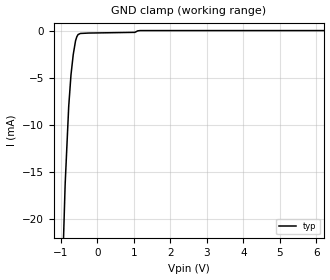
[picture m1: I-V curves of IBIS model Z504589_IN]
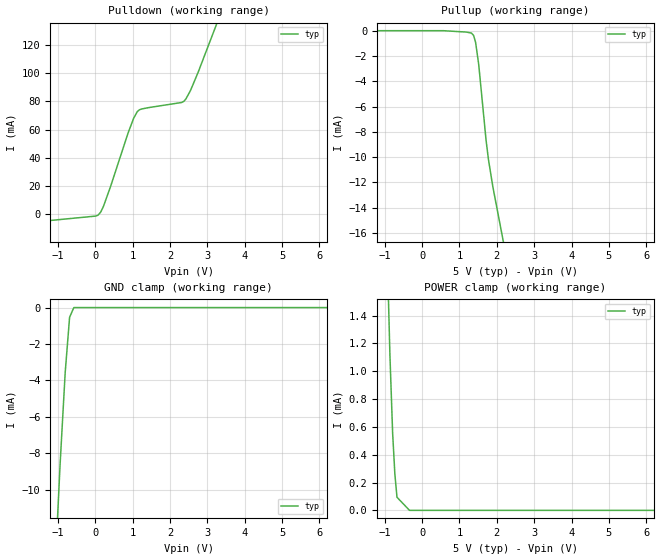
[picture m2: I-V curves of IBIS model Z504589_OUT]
| YOU ARE ONLY AUTHORIZED TO USE THIS SOFTWARE
| ACCORDING TO LICENSOR'S LICENSE RESTRICTIONS.
[IBIS Ver] 3.1
[File Name] sn74ls194ad.ibs
[File Rev] 2.0
[Source] Measured and created by ICX Technology
[Date] Friday 7/14/00 9:08:18 AM
[Copyright]
| (C) COPYRIGHT 1993-2000
| MENTOR GRAPHICS CORPORATION
| ICX STANDARD LIBRARY, ICX PROJECT MODELING,
| ICX CUSTOM MODELING, ICX VENDOR MODEL
| ALL RIGHTS RESERVED.
| THE FOLLOWING ARE TRADEMARKS OR SERVICE MARKS OF
| MENTOR GRAPHICS CORPORATION:ICX (R), ICX STANDARD
| LIBRARY(R), ICX PROJECT MODELING(R), ICX CUSTOM
| MODELING(R), qualityIBIS(TM), MODELVIEWER(TM),
| AND MODELEDITOR(TM)
| ALL COPIES OF SOFTWARE, INCLUDING BUT NOT LIMITED TO
| ANY MODIFICATIONS, ENHANCEMENTS OR DERIVATIVE WORKS,
| MUST CONTAIN ALL MENTOR GRAPHICS CORPORATION'S
| NOTICES AND LEGENDS, INCLUDING THOSE EMBEDDED IN
| SOFTWARE AND THOSE AFFIXED TO SOFTWARE MEDIUM
| AND CONTAINER, AS RECEIVED FROM MENTOR GRAPHICS
| CORPORATION.
|  ZAP Model Builder 2.7
[Component] SN74LS194AD
[Manufacturer] OnSemiconductor
[Package]
| variable   typ   min   max
R_pkg  .156ohms NA NA
L_pkg  3.148nH NA NA
C_pkg  .388pF NA NA
[Pin] signal_name  model_name  R_pin  L_pin C_pin
1 _CLR Z504589_IN .162 3.798n .418p
2 SR_SER Z504589_IN .158 3.358n .398p
3 A Z504589_IN .154 2.928n .378p
4 B Z504589_IN .15 2.508n .358p
5 C Z504589_IN .15 2.508n .358p
6 D Z504589_IN .154 2.928n .378p
7 SL_SER Z504589_IN .158 3.358n .398p
8 GND GND .162 3.798n .418p
9 S0 Z504589_IN .162 3.798n .418p
10 S1 Z504589_IN .158 3.358n .398p
11 CLK Z504589_IN .154 2.928n .378p
12 QD Z504589_OUT .15 2.508n .358p
13 QC Z504589_OUT .15 2.508n .358p
14 QB Z504589_OUT .154 2.928n .378p
15 QA Z504589_OUT .158 3.358n .398p
16 VCC POWER .162 3.798n .418p
| Models and submodels in the file (2): Z504589_IN (Input), Z504589_OUT (Output)
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| (C) COPYRIGHT 1993-2000
| MENTOR GRAPHICS CORPORATION
| ICX STANDARD LIBRARY, ICX PROJECT MODELING,
| ICX CUSTOM MODELING, ICX VENDOR MODEL
| ALL RIGHTS RESERVED.
| THE FOLLOWING ARE TRADEMARKS OR SERVICE MARKS OF
| MENTOR GRAPHICS CORPORATION:ICX (R), ICX STANDARD
| LIBRARY(R), ICX PROJECT MODELING(R), ICX CUSTOM
| MODELING(R), qualityIBIS(TM), MODELVIEWER(TM),
| AND MODELEDITOR(TM)
| ALL COPIES OF SOFTWARE, INCLUDING BUT NOT LIMITED TO
| ANY MODIFICATIONS, ENHANCEMENTS OR DERIVATIVE WORKS,
| MUST CONTAIN ALL MENTOR GRAPHICS CORPORATION'S
| NOTICES AND LEGENDS, INCLUDING THOSE EMBEDDED IN
| SOFTWARE AND THOSE AFFIXED TO SOFTWARE MEDIUM
| AND CONTAINER, AS RECEIVED FROM MENTOR GRAPHICS
| CORPORATION.
| Model Application Version 1.89 2/18/99.
[Model] Z504589_IN
Model_type Input
Vinl = 800.0mV
Vinh = 2.000V
C_comp 4.000pF NA NA
| variable typ   min   max
[Voltage Range] 5.000V NA NA
[GND Clamp Reference] 0.000V NA NA
[POWER Clamp Reference] 5.000V NA NA
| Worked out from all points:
|   GND clamp passes 1 mA (typ) near -0.59 V on its own axis
[GND Clamp]
-5V       -548.4mA   NA         NA
-881.7mV  -16.32mA   NA         NA
-784.7mV  -8.089mA   NA         NA
-722.5mV  -4.724mA   NA         NA
-659.8mV  -2.539mA   NA         NA
-597.3mV  -1.09mA    NA         NA
-562.4mV  -659.9uA   NA         NA
-527.3mV  -424.6uA   NA         NA
-463.9mV  -309.1uA   NA         NA
1.029V    -192.2uA   NA         NA
1.168V    -4.144uA   NA         NA
10V       -4.144uA   NA         NA
[POWER Clamp]
-5V       0A         NA         NA
10V       0A         NA         NA
| (C) COPYRIGHT 1993-2000
| MENTOR GRAPHICS CORPORATION
| ICX STANDARD LIBRARY, ICX PROJECT MODELING,
| ICX CUSTOM MODELING, ICX VENDOR MODEL
| ALL RIGHTS RESERVED.
| THE FOLLOWING ARE TRADEMARKS OR SERVICE MARKS OF
| MENTOR GRAPHICS CORPORATION:ICX (R), ICX STANDARD
| LIBRARY(R), ICX PROJECT MODELING(R), ICX CUSTOM
| MODELING(R), qualityIBIS(TM), MODELVIEWER(TM),
| AND MODELEDITOR(TM)
| ALL COPIES OF SOFTWARE, INCLUDING BUT NOT LIMITED TO
| ANY MODIFICATIONS, ENHANCEMENTS OR DERIVATIVE WORKS,
| MUST CONTAIN ALL MENTOR GRAPHICS CORPORATION'S
| NOTICES AND LEGENDS, INCLUDING THOSE EMBEDDED IN
| SOFTWARE AND THOSE AFFIXED TO SOFTWARE MEDIUM
| AND CONTAINER, AS RECEIVED FROM MENTOR GRAPHICS
| CORPORATION.
| Model Application Version 1.89 2/18/99.
[Model] Z504589_OUT
Model_type Output
Vref=5.000V
Rref=2.000kohms
Cref=15.00pF
Vmeas=1.300V
C_comp 8.000pF NA NA
| variable typ   min   max
[Voltage Range] 5.000V NA NA
[POWER Clamp Reference] 5.000V NA NA
[Pullup Reference] 5.000V NA NA
[Pulldown Reference] 0.000V NA NA
[GND Clamp Reference] 0.000V NA NA
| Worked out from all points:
|   slope of the pulldown table from 0 to 0.75 V, typ, clamps not added: 15.5 ohm
|   slope of the pullup table from 0 to 0.75 V, typ, clamps not added: 23.1 kohm
|   GND clamp passes 1 mA (typ) near -0.70 V on its own axis
|   POWER clamp passes 1 mA (typ) near -0.84 V on its own axis
[GND Clamp]
-5V       -198.9mA   NA         NA
-1.127V   -16.72mA   NA         NA
-936.1mV  -8.566mA   NA         NA
-800.8mV  -3.564mA   NA         NA
-683.5mV  -536.1uA   NA         NA
-569.6mV  0A         NA         NA
10V       0A         NA         NA
[Pulldown]
-5V       -14.31mA   NA         NA
48.83mV   -1.116mA   NA         NA
150.9mV   1.474mA    NA         NA
224.3mV   5.62mA     NA         NA
881mV     57.54mA    NA         NA
1.031V    68.07mA    NA         NA
1.128V    72.77mA    NA         NA
1.245V    74.66mA    NA         NA
2.378V    80.17mA    NA         NA
2.549V    87.64mA    NA         NA
2.754V    100.6mA    NA         NA
10V       602.1mA    NA         NA
[Pullup]
-5V       12.89uA    NA         NA
566mV     12.89uA    NA         NA
1.182V    -96.04uA   NA         NA
1.323V    -173.1uA   NA         NA
1.381V    -368.3uA   NA         NA
1.434V    -914.7uA   NA         NA
1.518V    -2.684mA   NA         NA
1.714V    -8.658mA   NA         NA
1.777V    -10.17mA   NA         NA
1.895V    -12.34mA   NA         NA
10V       -137.6mA   NA         NA
[POWER Clamp]
-5V       50.23mA    NA         NA
-1.005V   2.615mA    NA         NA
-859mV    1.121mA    NA         NA
-786mV    557uA      NA         NA
-726mV    259.1uA    NA         NA
-669mV    94.21uA    NA         NA
-334.5mV  0A         NA         NA
10V       0A         NA         NA
[Ramp]
| variable typ min max
dV/dt_r 1.951/10.74n NA NA
dV/dt_f 1.951/3.668n NA NA
R_load = 500.0Ohms
